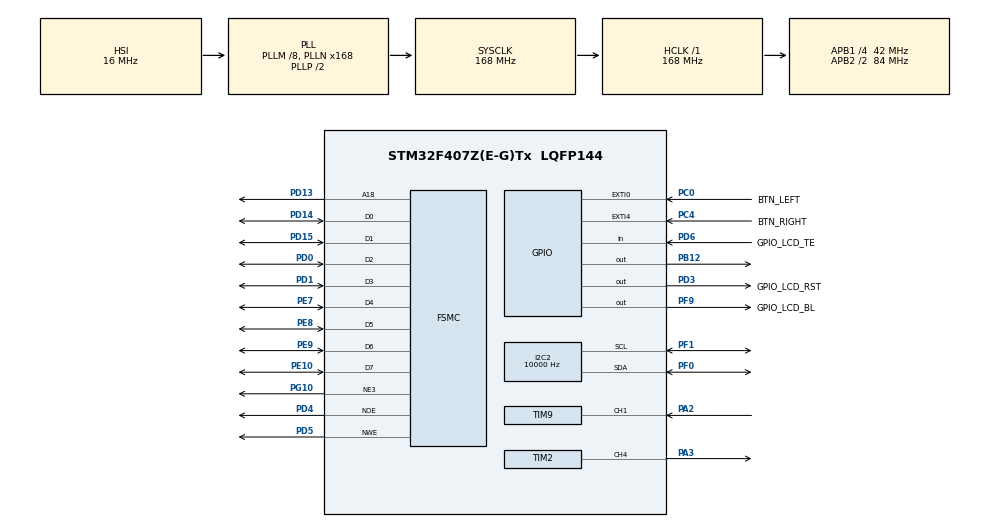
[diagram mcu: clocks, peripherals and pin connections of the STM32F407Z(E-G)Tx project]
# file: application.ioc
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FSMC.BusTurnAroundDuration3=0
FSMC.DataSetupTime3=60
FSMC.ExtendedAddressSetupTime3=9
FSMC.ExtendedBusTurnAroundDuration3=0
FSMC.ExtendedDataSetupTime3=8
FSMC.ExtendedMode3=FSMC_EXTENDED_MODE_ENABLE
I2C2.ClockSpeed=10000
Mcu.Family=STM32F4
Mcu.Name=STM32F407Z(E-G)Tx
Mcu.Package=LQFP144
NVIC.EXTI0_IRQn=true\:2\:0\:true\:false\:true\:true\:true\:true
NVIC.EXTI4_IRQn=true\:2\:0\:true\:false\:true\:true\:true\:true
NVIC.PriorityGroup=NVIC_PRIORITYGROUP_4
NVIC.TIM1_BRK_TIM9_IRQn=true\:0\:0\:false\:false\:true\:true\:true\:true
PA13.Mode=Serial_Wire
PA13.Signal=SYS_JTMS-SWDIO
PA14.Mode=Serial_Wire
PA14.Signal=SYS_JTCK-SWCLK
PA2.Signal=S_TIM9_CH1
PA3.Signal=S_TIM2_CH4
PB12.GPIO_ModeDefaultOutputPP=GPIO_MODE_OUTPUT_PP
PB12.GPIO_Speed=GPIO_SPEED_FREQ_HIGH
PB12.PinState=GPIO_PIN_SET
PB12.Signal=GPIO_Output
PC0.GPIO_Label=BTN_LEFT
PC0.GPIO_PuPd=GPIO_PULLUP
PC0.Signal=GPXTI0
PC14-OSC32_IN.Mode=LSE-External-Oscillator
PC14-OSC32_IN.Signal=RCC_OSC32_IN
PC15-OSC32_OUT.Mode=LSE-External-Oscillator
PC15-OSC32_OUT.Signal=RCC_OSC32_OUT
PC4.GPIO_Label=BTN_RIGHT
PC4.GPIO_PuPd=GPIO_PULLUP
PC4.Signal=GPXTI4
PD0.Signal=FSMC_D2_DA2
PD1.Signal=FSMC_D3_DA3
PD13.Signal=FSMC_A18
PD14.Signal=FSMC_D0_DA0
PD15.Signal=FSMC_D1_DA1
PD3.GPIO_Label=GPIO_LCD_RST
PD3.Signal=GPIO_Output
PD4.Signal=FSMC_NOE
PD5.Signal=FSMC_NWE
PD6.GPIO_Label=GPIO_LCD_TE
PD6.Signal=GPIO_Input
PE10.Signal=FSMC_D7_DA7
PE7.Signal=FSMC_D4_DA4
PE8.Signal=FSMC_D5_DA5
PE9.Signal=FSMC_D6_DA6
PF0.Mode=I2C
PF0.Signal=I2C2_SDA
PF1.Mode=I2C
PF1.Signal=I2C2_SCL
PF9.GPIO_Label=GPIO_LCD_BL
PF9.Signal=GPIO_Output
PG10.Mode=NorPsramChipSelect3_3
PG10.Signal=FSMC_NE3
PH0-OSC_IN.Mode=HSE-External-Oscillator
PH0-OSC_IN.Signal=RCC_OSC_IN
PH1-OSC_OUT.Mode=HSE-External-Oscillator
PH1-OSC_OUT.Signal=RCC_OSC_OUT
ProjectManager.HeapSize=0x2000
ProjectManager.StackSize=0x1200
ProjectManager.TargetToolchain=CMake
RCC.48MHZClocksFreq_Value=84000000
RCC.AHBFreq_Value=168000000
RCC.APB1CLKDivider=RCC_HCLK_DIV4
RCC.APB1Freq_Value=42000000
RCC.APB1TimFreq_Value=84000000
RCC.APB2CLKDivider=RCC_HCLK_DIV2
RCC.APB2Freq_Value=84000000
RCC.APB2TimFreq_Value=168000000
RCC.CortexFreq_Value=168000000
RCC.HCLKFreq_Value=168000000
RCC.HSE_VALUE=8000000
RCC.HSI_VALUE=16000000
RCC.PLLM=8
RCC.PLLN=168
RCC.SYSCLKFreq_VALUE=168000000
RCC.SYSCLKSource=RCC_SYSCLKSOURCE_PLLCLK
RCC.VCOOutputFreq_Value=336000000
SH.FSMC_A18.0=FSMC_A18,A18_3
SH.FSMC_D0_DA0.0=FSMC_D0,8b-d3
SH.FSMC_D1_DA1.0=FSMC_D1,8b-d3
SH.FSMC_D2_DA2.0=FSMC_D2,8b-d3
SH.FSMC_D3_DA3.0=FSMC_D3,8b-d3
SH.FSMC_D4_DA4.0=FSMC_D4,8b-d3
SH.FSMC_D5_DA5.0=FSMC_D5,8b-d3
SH.FSMC_D6_DA6.0=FSMC_D6,8b-d3
SH.FSMC_D7_DA7.0=FSMC_D7,8b-d3
SH.FSMC_NOE.0=FSMC_NOE,Lcd3
SH.FSMC_NWE.0=FSMC_NWE,Lcd3
SH.S_TIM2_CH4.0=TIM2_CH4,PWM Generation4 CH4
SH.S_TIM9_CH1.0=TIM9_CH1,PWM_Input_1
TIM2.AutoReloadPreload=TIM_AUTORELOAD_PRELOAD_ENABLE
TIM2.Channel-PWM\ Generation4\ CH4=TIM_CHANNEL_4
TIM2.OC4Preload_PWM=DISABLE
TIM2.Period=8000 - 1
TIM2.Prescaler=83
TIM2.Pulse-PWM\ Generation4\ CH4=400
TIM9.Period=50000-1
TIM9.Prescaler=8400-1
VP_TIM2_VS_ClockSourceINT.Mode=Internal
VP_TIM9_VS_ClockSourceINT.Mode=Internal
board=custom

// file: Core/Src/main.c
/* USER CODE BEGIN Header */
/**
 ******************************************************************************
 * @file           : main.c
 * @brief          : Main program body
 ******************************************************************************
 * @attention
 *
 * Copyright (c) 2025 STMicroelectronics.
 * All rights reserved.
 *
 * This software is licensed under terms that can be found in the LICENSE file
 * in the root directory of this software component.
 * If no LICENSE file comes with this software, it is provided AS-IS.
 *
 ******************************************************************************
 */
/* USER CODE END Header */
#include "main.h"

/* USER CODE BEGIN Includes */

#include "lv_api_map.h"
#include "lv_area.h"
#include "lv_disp.h"
#include "lv_label.h"
#include "lv_obj.h"
#include "lv_obj_pos.h"
#include "lvgl.h"
#include "stm32f4xx_hal_gpio.h"
#include "stm32f4xx_hal_rcc.h"
#include "stm32f4xx_hal_tim.h"
#include <stdint.h>
/* USER CODE END Includes */

I2C_HandleTypeDef hi2c2;

TIM_HandleTypeDef htim2;
TIM_HandleTypeDef htim9;

SRAM_HandleTypeDef hsram3;

/* USER CODE BEGIN PV */
uint16_t dir = 400;
uint16_t Duty = 4000;
float recDuty = 0;
uint32_t freq = 0;
uint32_t ic2valuePwm = 0;
/* USER CODE END PV */

void SystemClock_Config(void);
static void MX_GPIO_Init(void);
static void MX_FSMC_Init(void);
static void MX_I2C2_Init(void);
static void MX_TIM2_Init(void);
static void MX_TIM9_Init(void);
/* USER CODE BEGIN PFP */
void HAL_TIM_IC_CaptureCallback(TIM_HandleTypeDef *htim) {
  if (htim->Instance == htim9.Instance &&
      htim->Channel == HAL_TIM_ACTIVE_CHANNEL_1) {
    ic2valuePwm = HAL_TIM_ReadCapturedValue(htim, TIM_CHANNEL_1);
    if (ic2valuePwm != 0) {
      recDuty = (HAL_TIM_ReadCapturedValue(htim, TIM_CHANNEL_2) * 100.0) /
                ic2valuePwm;
      freq = (HAL_RCC_GetPCLK2Freq() * 2 / (htim9.Instance->PSC + 1)) /
             ic2valuePwm;
    } else {
      recDuty = 0;
      freq = 0;
    }
  }
}
void HAL_GPIO_EXTI_Callback(uint16_t GPIO_Pin) {
  if (GPIO_Pin == BTN_LEFT_Pin) {
    Duty -= dir;
    if (Duty < 100)
      Duty = 100;
  } else if (GPIO_Pin == BTN_RIGHT_Pin) {
    Duty += dir;

    if (Duty > 7900)
      Duty = 7900;
  }
  __HAL_TIM_SET_COMPARE(&htim2, TIM_CHANNEL_4, Duty);
}
/* USER CODE END PFP */

int main(void) {

  /* MCU Configuration--------------------------------------------------------*/

  /* Reset of all peripherals, Initializes the Flash interface and the Systick.
   */
  HAL_Init();

  /* Configure the system clock */
  SystemClock_Config();

  /* Initialize all configured peripherals */
  MX_GPIO_Init();
  MX_FSMC_Init();
  MX_I2C2_Init();
  MX_TIM2_Init();
  MX_TIM9_Init();
  /* USER CODE BEGIN 2 */
  lv_init();
  HAL_TIM_PWM_Start(&htim2, TIM_CHANNEL_4);
  HAL_TIM_IC_Start_IT(&htim9, TIM_CHANNEL_1);
  HAL_TIM_IC_Start_IT(&htim9, TIM_CHANNEL_2);
  lv_obj_t *label = lv_label_create(lv_scr_act());
  lv_obj_align(label, LV_ALIGN_CENTER, 0, 0);
  /* USER CODE END 2 */

  /* Infinite loop */
  /* USER CODE BEGIN WHILE */
  while (1) {
    lv_label_set_text_fmt(label, "freq:%4uHz\nduty:%3.1f", freq, recDuty);
    lv_task_handler();
    /* USER CODE END WHILE */

  }
}

void SystemClock_Config(void) {
  RCC_OscInitTypeDef RCC_OscInitStruct = {0};
  RCC_ClkInitTypeDef RCC_ClkInitStruct = {0};

  /** Configure the main internal regulator output voltage
   */
  __HAL_RCC_PWR_CLK_ENABLE();
  __HAL_PWR_VOLTAGESCALING_CONFIG(PWR_REGULATOR_VOLTAGE_SCALE1);

  /** Initializes the RCC Oscillators according to the specified parameters
   * in the RCC_OscInitTypeDef structure.
   */
  RCC_OscInitStruct.OscillatorType = RCC_OSCILLATORTYPE_HSI;
  RCC_OscInitStruct.HSIState = RCC_HSI_ON;
  RCC_OscInitStruct.HSICalibrationValue = RCC_HSICALIBRATION_DEFAULT;
  RCC_OscInitStruct.PLL.PLLState = RCC_PLL_ON;
  RCC_OscInitStruct.PLL.PLLSource = RCC_PLLSOURCE_HSI;
  RCC_OscInitStruct.PLL.PLLM = 8;
  RCC_OscInitStruct.PLL.PLLN = 168;
  RCC_OscInitStruct.PLL.PLLP = RCC_PLLP_DIV2;
  RCC_OscInitStruct.PLL.PLLQ = 4;
  if (HAL_RCC_OscConfig(&RCC_OscInitStruct) != HAL_OK) {
    Error_Handler();
  }

  /** Initializes the CPU, AHB and APB buses clocks
   */
  RCC_ClkInitStruct.ClockType = RCC_CLOCKTYPE_HCLK | RCC_CLOCKTYPE_SYSCLK |
                                RCC_CLOCKTYPE_PCLK1 | RCC_CLOCKTYPE_PCLK2;
  RCC_ClkInitStruct.SYSCLKSource = RCC_SYSCLKSOURCE_PLLCLK;
  RCC_ClkInitStruct.AHBCLKDivider = RCC_SYSCLK_DIV1;
  RCC_ClkInitStruct.APB1CLKDivider = RCC_HCLK_DIV4;
  RCC_ClkInitStruct.APB2CLKDivider = RCC_HCLK_DIV2;

  if (HAL_RCC_ClockConfig(&RCC_ClkInitStruct, FLASH_LATENCY_5) != HAL_OK) {
    Error_Handler();
  }
}

static void MX_I2C2_Init(void) {

  hi2c2.Instance = I2C2;
  hi2c2.Init.ClockSpeed = 10000;
  hi2c2.Init.DutyCycle = I2C_DUTYCYCLE_2;
  hi2c2.Init.OwnAddress1 = 0;
  hi2c2.Init.AddressingMode = I2C_ADDRESSINGMODE_7BIT;
  hi2c2.Init.DualAddressMode = I2C_DUALADDRESS_DISABLE;
  hi2c2.Init.OwnAddress2 = 0;
  hi2c2.Init.GeneralCallMode = I2C_GENERALCALL_DISABLE;
  hi2c2.Init.NoStretchMode = I2C_NOSTRETCH_DISABLE;
  if (HAL_I2C_Init(&hi2c2) != HAL_OK) {
    Error_Handler();
  }
}

static void MX_TIM2_Init(void) {

  TIM_ClockConfigTypeDef sClockSourceConfig = {0};
  TIM_MasterConfigTypeDef sMasterConfig = {0};
  TIM_OC_InitTypeDef sConfigOC = {0};

  htim2.Instance = TIM2;
  htim2.Init.Prescaler = 83;
  htim2.Init.CounterMode = TIM_COUNTERMODE_UP;
  htim2.Init.Period = 8000 - 1;
  htim2.Init.ClockDivision = TIM_CLOCKDIVISION_DIV1;
  htim2.Init.AutoReloadPreload = TIM_AUTORELOAD_PRELOAD_ENABLE;
  if (HAL_TIM_Base_Init(&htim2) != HAL_OK) {
    Error_Handler();
  }
  sClockSourceConfig.ClockSource = TIM_CLOCKSOURCE_INTERNAL;
  if (HAL_TIM_ConfigClockSource(&htim2, &sClockSourceConfig) != HAL_OK) {
    Error_Handler();
  }
  if (HAL_TIM_PWM_Init(&htim2) != HAL_OK) {
    Error_Handler();
  }
  sMasterConfig.MasterOutputTrigger = TIM_TRGO_RESET;
  sMasterConfig.MasterSlaveMode = TIM_MASTERSLAVEMODE_DISABLE;
  if (HAL_TIMEx_MasterConfigSynchronization(&htim2, &sMasterConfig) != HAL_OK) {
    Error_Handler();
  }
  sConfigOC.OCMode = TIM_OCMODE_PWM1;
  sConfigOC.Pulse = 400;
  sConfigOC.OCPolarity = TIM_OCPOLARITY_HIGH;
  sConfigOC.OCFastMode = TIM_OCFAST_DISABLE;
  if (HAL_TIM_PWM_ConfigChannel(&htim2, &sConfigOC, TIM_CHANNEL_4) != HAL_OK) {
    Error_Handler();
  }
  __HAL_TIM_DISABLE_OCxPRELOAD(&htim2, TIM_CHANNEL_4);
  HAL_TIM_MspPostInit(&htim2);
}

static void MX_TIM9_Init(void) {

  TIM_ClockConfigTypeDef sClockSourceConfig = {0};
  TIM_SlaveConfigTypeDef sSlaveConfig = {0};
  TIM_IC_InitTypeDef sConfigIC = {0};

  htim9.Instance = TIM9;
  htim9.Init.Prescaler = 8400 - 1;
  htim9.Init.CounterMode = TIM_COUNTERMODE_UP;
  htim9.Init.Period = 50000 - 1;
  htim9.Init.ClockDivision = TIM_CLOCKDIVISION_DIV1;
  htim9.Init.AutoReloadPreload = TIM_AUTORELOAD_PRELOAD_DISABLE;
  if (HAL_TIM_Base_Init(&htim9) != HAL_OK) {
    Error_Handler();
  }
  sClockSourceConfig.ClockSource = TIM_CLOCKSOURCE_INTERNAL;
  if (HAL_TIM_ConfigClockSource(&htim9, &sClockSourceConfig) != HAL_OK) {
    Error_Handler();
  }
  if (HAL_TIM_IC_Init(&htim9) != HAL_OK) {
    Error_Handler();
  }
  sSlaveConfig.SlaveMode = TIM_SLAVEMODE_RESET;
  sSlaveConfig.InputTrigger = TIM_TS_TI1FP1;
  sSlaveConfig.TriggerPolarity = TIM_INPUTCHANNELPOLARITY_RISING;
  sSlaveConfig.TriggerPrescaler = TIM_ICPSC_DIV1;
  sSlaveConfig.TriggerFilter = 0;
  if (HAL_TIM_SlaveConfigSynchro(&htim9, &sSlaveConfig) != HAL_OK) {
    Error_Handler();
  }
  sConfigIC.ICPolarity = TIM_INPUTCHANNELPOLARITY_RISING;
  sConfigIC.ICSelection = TIM_ICSELECTION_DIRECTTI;
  sConfigIC.ICPrescaler = TIM_ICPSC_DIV1;
  sConfigIC.ICFilter = 0;
  if (HAL_TIM_IC_ConfigChannel(&htim9, &sConfigIC, TIM_CHANNEL_1) != HAL_OK) {
    Error_Handler();
  }
  sConfigIC.ICPolarity = TIM_INPUTCHANNELPOLARITY_FALLING;
  sConfigIC.ICSelection = TIM_ICSELECTION_INDIRECTTI;
  if (HAL_TIM_IC_ConfigChannel(&htim9, &sConfigIC, TIM_CHANNEL_2) != HAL_OK) {
    Error_Handler();
  }
}

static void MX_GPIO_Init(void) {
  GPIO_InitTypeDef GPIO_InitStruct = {0};

  /* GPIO Ports Clock Enable */
  __HAL_RCC_GPIOC_CLK_ENABLE();
  __HAL_RCC_GPIOF_CLK_ENABLE();
  __HAL_RCC_GPIOH_CLK_ENABLE();
  __HAL_RCC_GPIOA_CLK_ENABLE();
  __HAL_RCC_GPIOE_CLK_ENABLE();
  __HAL_RCC_GPIOB_CLK_ENABLE();
  __HAL_RCC_GPIOD_CLK_ENABLE();
  __HAL_RCC_GPIOG_CLK_ENABLE();

  /*Configure GPIO pin Output Level */
  HAL_GPIO_WritePin(GPIO_LCD_BL_GPIO_Port, GPIO_LCD_BL_Pin, GPIO_PIN_RESET);

  /*Configure GPIO pin Output Level */
  HAL_GPIO_WritePin(GPIOB, GPIO_PIN_12, GPIO_PIN_SET);

  /*Configure GPIO pin Output Level */
  HAL_GPIO_WritePin(GPIO_LCD_RST_GPIO_Port, GPIO_LCD_RST_Pin, GPIO_PIN_RESET);

  /*Configure GPIO pin : GPIO_LCD_BL_Pin */
  GPIO_InitStruct.Pin = GPIO_LCD_BL_Pin;
  GPIO_InitStruct.Mode = GPIO_MODE_OUTPUT_PP;
  GPIO_InitStruct.Pull = GPIO_NOPULL;
  GPIO_InitStruct.Speed = GPIO_SPEED_FREQ_LOW;
  HAL_GPIO_Init(GPIO_LCD_BL_GPIO_Port, &GPIO_InitStruct);

  /*Configure GPIO pins : BTN_LEFT_Pin BTN_RIGHT_Pin */
  GPIO_InitStruct.Pin = BTN_LEFT_Pin | BTN_RIGHT_Pin;
  GPIO_InitStruct.Mode = GPIO_MODE_IT_RISING;
  GPIO_InitStruct.Pull = GPIO_PULLUP;
  HAL_GPIO_Init(GPIOC, &GPIO_InitStruct);

  /*Configure GPIO pin : PB12 */
  GPIO_InitStruct.Pin = GPIO_PIN_12;
  GPIO_InitStruct.Mode = GPIO_MODE_OUTPUT_PP;
  GPIO_InitStruct.Pull = GPIO_NOPULL;
  GPIO_InitStruct.Speed = GPIO_SPEED_FREQ_HIGH;
  HAL_GPIO_Init(GPIOB, &GPIO_InitStruct);

  /*Configure GPIO pin : GPIO_LCD_RST_Pin */
  GPIO_InitStruct.Pin = GPIO_LCD_RST_Pin;
  GPIO_InitStruct.Mode = GPIO_MODE_OUTPUT_PP;
  GPIO_InitStruct.Pull = GPIO_NOPULL;
  GPIO_InitStruct.Speed = GPIO_SPEED_FREQ_LOW;
  HAL_GPIO_Init(GPIO_LCD_RST_GPIO_Port, &GPIO_InitStruct);

  /*Configure GPIO pin : GPIO_LCD_TE_Pin */
  GPIO_InitStruct.Pin = GPIO_LCD_TE_Pin;
  GPIO_InitStruct.Mode = GPIO_MODE_INPUT;
  GPIO_InitStruct.Pull = GPIO_NOPULL;
  HAL_GPIO_Init(GPIO_LCD_TE_GPIO_Port, &GPIO_InitStruct);

  /* EXTI interrupt init*/
  HAL_NVIC_SetPriority(EXTI0_IRQn, 2, 0);
  HAL_NVIC_EnableIRQ(EXTI0_IRQn);

  HAL_NVIC_SetPriority(EXTI4_IRQn, 2, 0);
  HAL_NVIC_EnableIRQ(EXTI4_IRQn);

}

/* FSMC initialization function */
static void MX_FSMC_Init(void) {

  FSMC_NORSRAM_TimingTypeDef Timing = {0};
  FSMC_NORSRAM_TimingTypeDef ExtTiming = {0};

  /** Perform the SRAM3 memory initialization sequence
   */
  hsram3.Instance = FSMC_NORSRAM_DEVICE;
  hsram3.Extended = FSMC_NORSRAM_EXTENDED_DEVICE;
  /* hsram3.Init */
  hsram3.Init.NSBank = FSMC_NORSRAM_BANK3;
  hsram3.Init.DataAddressMux = FSMC_DATA_ADDRESS_MUX_DISABLE;
  hsram3.Init.MemoryType = FSMC_MEMORY_TYPE_SRAM;
  hsram3.Init.MemoryDataWidth = FSMC_NORSRAM_MEM_BUS_WIDTH_8;
  hsram3.Init.BurstAccessMode = FSMC_BURST_ACCESS_MODE_DISABLE;
  hsram3.Init.WaitSignalPolarity = FSMC_WAIT_SIGNAL_POLARITY_LOW;
  hsram3.Init.WrapMode = FSMC_WRAP_MODE_DISABLE;
  hsram3.Init.WaitSignalActive = FSMC_WAIT_TIMING_BEFORE_WS;
  hsram3.Init.WriteOperation = FSMC_WRITE_OPERATION_ENABLE;
  hsram3.Init.WaitSignal = FSMC_WAIT_SIGNAL_DISABLE;
  hsram3.Init.ExtendedMode = FSMC_EXTENDED_MODE_ENABLE;
  hsram3.Init.AsynchronousWait = FSMC_ASYNCHRONOUS_WAIT_DISABLE;
  hsram3.Init.WriteBurst = FSMC_WRITE_BURST_DISABLE;
  hsram3.Init.PageSize = FSMC_PAGE_SIZE_NONE;
  /* Timing */
  Timing.AddressSetupTime = 15;
  Timing.AddressHoldTime = 15;
  Timing.DataSetupTime = 60;
  Timing.BusTurnAroundDuration = 0;
  Timing.CLKDivision = 16;
  Timing.DataLatency = 17;
  Timing.AccessMode = FSMC_ACCESS_MODE_A;
  /* ExtTiming */
  ExtTiming.AddressSetupTime = 9;
  ExtTiming.AddressHoldTime = 15;
  ExtTiming.DataSetupTime = 8;
  ExtTiming.BusTurnAroundDuration = 0;
  ExtTiming.CLKDivision = 16;
  ExtTiming.DataLatency = 17;
  ExtTiming.AccessMode = FSMC_ACCESS_MODE_A;

  if (HAL_SRAM_Init(&hsram3, &Timing, &ExtTiming) != HAL_OK) {
    Error_Handler();
  }

}

void Error_Handler(void) {
  /* USER CODE BEGIN Error_Handler_Debug */
  /* User can add his own implementation to report the HAL error return state
   */
  __disable_irq();
  while (1) {
  }
  /* USER CODE END Error_Handler_Debug */
}

#ifdef USE_FULL_ASSERT
/**
 * @brief  Reports the name of the source file and the source line number
 *         where the assert_param error has occurred.
 * @param  file: pointer to the source file name
 * @param  line: assert_param error line source number
 * @retval None
 */
void assert_failed(uint8_t *file, uint32_t line) {
  /* USER CODE BEGIN 6 */
  /* User can add his own implementation to report the file name and line
     number, ex: printf("Wrong parameters value: file %s on line %d\r\n",
     file, line) */
  /* USER CODE END 6 */
}
#endif /* USE_FULL_ASSERT */
